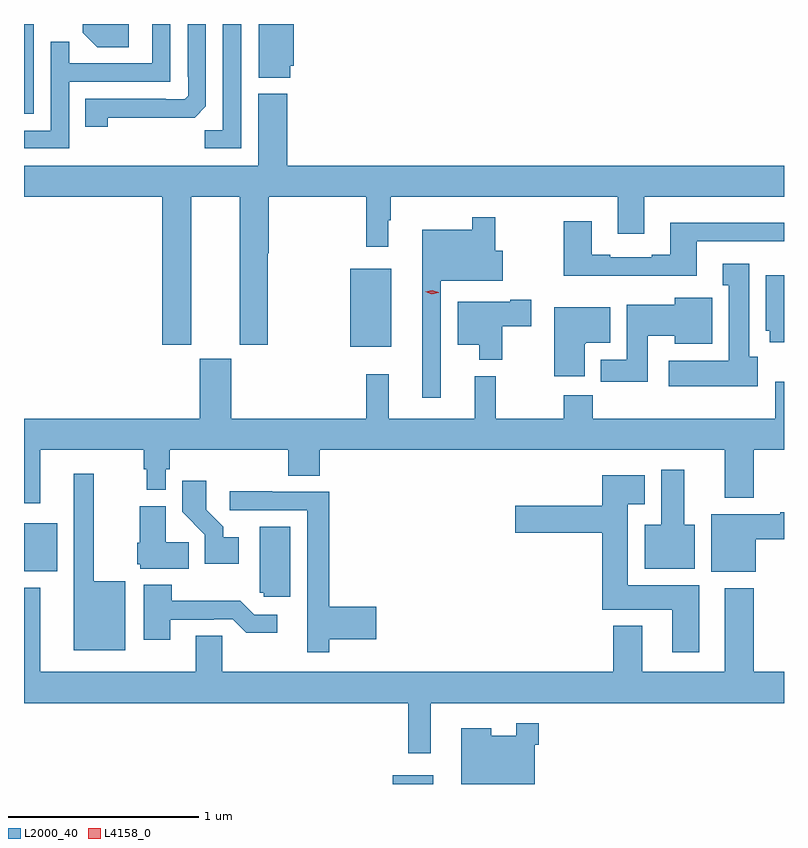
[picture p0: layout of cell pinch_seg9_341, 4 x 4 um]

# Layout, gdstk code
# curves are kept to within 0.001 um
import gdstk
lib = gdstk.Library(unit=1e-6, precision=1e-09)
def R(c, l, rs):  # rectangles x0, y0, x1, y1
    for r in rs: c.add(gdstk.rectangle(r[:2], r[2:], *l))
def P(c, l, *ps):  # polygons
    for p in ps: c.add(gdstk.Polygon(p, *l))
L2000_40 = (2000, 40)
L4158_0 = (4158, 0)

pinch_seg9_341 = lib.new_cell('pinch_seg9_341')
R(pinch_seg9_341, L2000_40, [(612.242,1185.338,612.457,1185.385), (610.302,1186.457,610.477,1186.711), (612.02,1187.639,612.235,1188.049), (610.302,1188.865,610.353,1189.338)])
P(pinch_seg9_341, L2000_40, [(611.445,1189.338),(611.349,1189.338),(611.349,1188.779),(611.254,1188.779),(611.254,1188.684),(611.445,1188.684)],
  [(610.743,1188.844),(611.2,1188.845),(611.259,1188.904),(611.259,1189.338),(611.163,1189.338),(611.163,1189.06),(611.166,1189.06),(611.166,1188.96),(611.148,1188.942),(611.048,1188.942),(611.048,1188.945),(610.624,1188.945),(610.624,1188.798),(610.743,1188.798)],
  [(610.539,1189.035),(611.073,1189.035),(611.073,1189.338),(610.977,1189.338),(610.977,1189.131),(610.541,1189.131),(610.541,1189.244),(610.443,1189.244),(610.443,1188.777),(610.302,1188.777),(610.302,1188.684),(610.539,1188.684)],
  [(610.852,1189.338),(610.611,1189.338),(610.611,1189.292),(610.687,1189.216),(610.852,1189.216)],
  [(611.704,1189.119),(611.722,1189.119),(611.722,1189.338),(611.537,1189.338),(611.537,1189.055),(611.704,1189.055)],
  [(611.182,1188.428),(611.438,1188.428),(611.438,1187.649),(611.586,1187.649),(611.586,1188.132),(611.591,1188.132),(611.591,1188.428),(612.103,1188.428),(612.103,1188.165),(612.22,1188.165),(612.22,1188.305),(612.232,1188.305),(612.232,1188.428),(613.427,1188.428),(613.427,1188.234),(613.567,1188.234),(613.567,1188.428),(614.302,1188.428),(614.302,1188.592),(611.687,1188.592),(611.687,1188.97),(611.534,1188.97),(611.534,1188.592),(610.302,1188.592),(610.302,1188.428),(611.03,1188.428),(611.03,1187.649),(611.182,1187.649)],
  [(612.495,1187.987),(612.823,1187.987),(612.823,1188.145),(612.781,1188.145),(612.781,1188.322),(612.66,1188.322),(612.66,1188.256),(612.398,1188.256),(612.398,1187.37),(612.495,1187.37)],
  [(613.843,1188.195),(614.302,1188.195),(614.302,1188.292),(613.703,1188.292),(613.703,1188.124),(613.607,1188.124),(613.607,1188.111),(613.387,1188.111),(613.387,1188.124),(613.291,1188.124),(613.291,1188.301),(613.144,1188.301),(613.144,1188.014),(613.843,1188.014)],
  [(614.164,1187.586),(614.119,1187.586),(614.119,1188.076),(613.979,1188.076),(613.979,1187.963),(614.012,1187.963),(614.012,1187.566),(613.695,1187.566),(613.695,1187.432),(614.164,1187.432)],
  [(614.302,1188.016),(614.207,1188.016),(614.207,1187.724),(614.228,1187.724),(614.228,1187.664),(614.302,1187.664)],
  [(613.585,1187.696),(613.727,1187.696),(613.727,1187.654),(613.924,1187.654),(613.924,1187.896),(613.727,1187.896),(613.727,1187.86),(613.475,1187.86),(613.475,1187.572),(613.337,1187.572),(613.337,1187.454),(613.585,1187.454)],
  [(612.82,1187.746),(612.973,1187.746),(612.973,1187.888),(612.86,1187.888),(612.86,1187.875),(612.584,1187.875),(612.584,1187.651),(612.698,1187.651),(612.698,1187.57),(612.82,1187.57)],
  [(613.252,1187.654),(613.258,1187.654),(613.258,1187.66),(613.387,1187.66),(613.387,1187.848),(613.094,1187.848),(613.094,1187.484),(613.252,1187.484)],
  [(610.387,1187.096),(610.933,1187.096),(610.933,1186.995),(610.948,1186.995),(610.948,1186.886),(611.049,1186.886),(611.049,1186.995),(611.069,1186.995),(611.069,1187.096),(611.693,1187.096),(611.693,1186.96),(611.858,1186.96),(611.858,1187.096),(613.991,1187.096),(613.991,1186.844),(614.144,1186.844),(614.144,1187.096),(614.302,1187.096),(614.302,1187.455),(614.255,1187.455),(614.255,1187.26),(613.295,1187.26),(613.295,1187.384),(613.144,1187.384),(613.144,1187.26),(612.784,1187.26),(612.784,1187.485),(612.674,1187.485),(612.674,1187.26),(612.221,1187.26),(612.221,1187.494),(612.103,1187.494),(612.103,1187.26),(611.392,1187.26),(611.392,1187.577),(611.228,1187.577),(611.228,1187.26),(610.302,1187.26),(610.302,1186.815),(610.387,1186.815)],
  [(613.831,1186.702),(613.777,1186.702),(613.777,1186.993),(613.655,1186.993),(613.655,1186.702),(613.568,1186.702),(613.568,1186.472),(613.831,1186.472)],
  [(610.834,1186.405),(610.669,1186.405),(610.669,1186.972),(610.565,1186.972),(610.565,1186.043),(610.834,1186.043)],
  [(613.855,1186.384),(613.48,1186.384),(613.48,1186.811),(613.57,1186.811),(613.57,1186.963),(613.346,1186.963),(613.346,1186.803),(612.888,1186.803),(612.888,1186.661),(613.346,1186.661),(613.346,1186.256),(613.715,1186.256),(613.715,1186.032),(613.855,1186.032)],
  [(611.431,1186.636),(611.35,1186.636),(611.35,1186.691),(611.26,1186.781),(611.26,1186.933),(611.134,1186.933),(611.134,1186.77),(611.253,1186.651),(611.253,1186.496),(611.431,1186.496)],
  [(611.909,1186.1),(612.157,1186.1),(612.157,1186.271),(611.909,1186.271),(611.909,1186.875),(611.609,1186.875),(611.609,1186.878),(611.385,1186.878),(611.385,1186.779),(611.793,1186.779),(611.793,1186.254),(611.792,1186.254),(611.792,1186.032),(611.909,1186.032)],
  [(611.168,1186.61),(611.047,1186.61),(611.047,1186.801),(610.91,1186.801),(610.91,1186.608),(610.898,1186.608),(610.898,1186.494),(610.914,1186.494),(610.914,1186.472),(611.168,1186.472)],
  [(614.152,1186.625),(614.302,1186.625),(614.302,1186.767),(614.282,1186.767),(614.282,1186.759),(613.919,1186.759),(613.919,1186.454),(614.152,1186.454)],
  [(611.704,1186.693),(611.543,1186.693),(611.543,1186.344),(611.565,1186.344),(611.565,1186.323),(611.704,1186.323)],
  [(611.071,1186.203),(611.3,1186.203),(611.3,1186.206),(611.4,1186.206),(611.473,1186.133),(611.635,1186.133),(611.635,1186.23),(611.514,1186.23),(611.441,1186.303),(611.079,1186.303),(611.079,1186.387),(610.931,1186.387),(610.931,1186.098),(611.071,1186.098)],
  [(612.442,1185.764),(614.302,1185.764),(614.302,1185.928),(614.144,1185.928),(614.144,1186.369),(613.991,1186.369),(613.991,1185.928),(613.555,1185.928),(613.555,1186.171),(613.403,1186.171),(613.403,1185.928),(611.346,1185.928),(611.346,1186.118),(611.207,1186.118),(611.207,1185.928),(610.387,1185.928),(610.387,1186.372),(610.302,1186.372),(610.302,1185.764),(612.325,1185.764),(612.325,1185.501),(612.442,1185.501)],
  [(612.99,1185.545),(613.01,1185.545),(613.01,1185.658),(612.893,1185.658),(612.893,1185.592),(612.76,1185.592),(612.76,1185.631),(612.602,1185.631),(612.602,1185.338),(612.99,1185.338)])
P(pinch_seg9_341, L4158_0, [(612.449,1187.916),(612.414,1187.928),(612.414,1187.928),(612.414,1187.929),(612.45,1187.936),(612.485,1187.925),(612.485,1187.924),(612.485,1187.924)])

lib.write_gds('pinch_seg9_341.gds')
